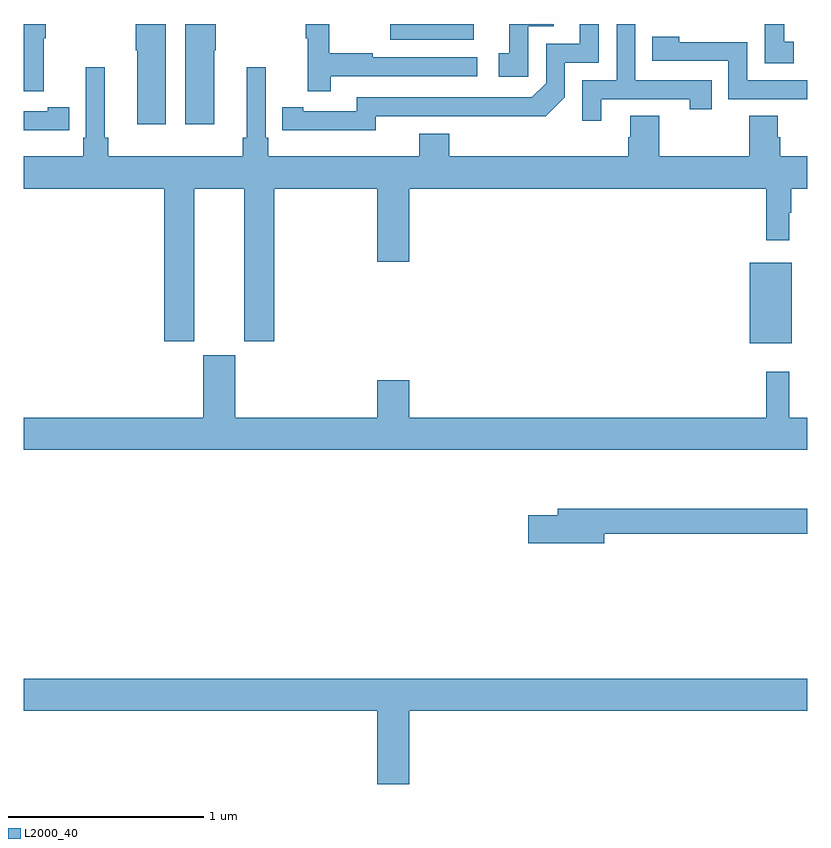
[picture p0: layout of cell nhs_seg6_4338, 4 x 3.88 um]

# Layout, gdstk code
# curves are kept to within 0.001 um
import gdstk
lib = gdstk.Library(unit=1e-6, precision=1e-09)
def R(c, l, rs):  # rectangles x0, y0, x1, y1
    for r in rs: c.add(gdstk.rectangle(r[:2], r[2:], *l))
def P(c, l, *ps):  # polygons
    for p in ps: c.add(gdstk.Polygon(p, *l))
L2000_40 = (2000, 40)

nhs_seg6_4338 = lib.new_cell('nhs_seg6_4338')
R(nhs_seg6_4338, L2000_40, [(370.706,955.871,370.921,956.281), (368.871,957.419,369.298,957.5)])
P(nhs_seg6_4338, L2000_40, [(369.576,957.489),(369.705,957.489),(369.705,957.5),(369.479,957.5),(369.479,957.351),(369.426,957.351),(369.426,957.231),(369.576,957.231)],
  [(369.949,957.117),(370.4,957.117),(370.4,957.066),(370.511,957.066),(370.511,957.213),(370.122,957.213),(370.122,957.5),(370.026,957.5),(370.026,957.213),(369.852,957.213),(369.852,957.006),(369.949,957.006)],
  [(370.93,957.409),(370.881,957.409),(370.881,957.5),(370.438,957.5),(370.44,957.498),(370.782,957.498),(370.782,957.3),(370.93,957.3)],
  [(367.972,957.367),(367.98,957.367),(367.98,957.5),(367.826,957.5),(367.826,956.988),(367.972,956.988)],
  [(368.796,957.03),(369.664,957.029),(369.762,957.126),(369.762,957.303),(369.936,957.303),(369.936,957.5),(369.839,957.5),(369.839,957.399),(369.666,957.399),(369.666,957.198),(369.594,957.126),(368.7,957.126),(368.7,957.054),(368.428,957.054),(368.428,957.074),(368.32,957.074),(368.32,956.958),(368.796,956.957)],
  [(368.567,957.234),(369.316,957.234),(369.316,957.33),(368.783,957.33),(368.783,957.35),(368.56,957.35),(368.56,957.5),(368.439,957.5),(368.439,957.427),(368.45,957.427),(368.45,957.156),(368.567,957.156)],
  [(367.726,957.5),(367.573,957.5),(367.573,957.367),(367.58,957.367),(367.58,956.988),(367.726,956.988)],
  [(367.103,957.427),(367.114,957.427),(367.114,957.5),(367,957.5),(367,957.156),(367.103,957.156)],
  [(371,957.213),(370.692,957.213),(370.692,957.408),(370.347,957.408),(370.347,957.435),(370.207,957.435),(370.207,957.312),(370.596,957.312),(370.596,957.117),(371,957.117)],
  [(367.87,956.66),(368.126,956.66),(368.126,955.881),(368.279,955.881),(368.279,956.66),(368.804,956.66),(368.804,956.286),(368.968,956.286),(368.968,956.66),(370.789,956.66),(370.789,956.397),(370.906,956.397),(370.906,956.537),(370.918,956.537),(370.918,956.66),(371,956.66),(371,956.824),(370.862,956.824),(370.862,956.922),(370.849,956.922),(370.849,957.032),(370.702,957.032),(370.702,956.824),(370.245,956.824),(370.245,957.032),(370.097,957.032),(370.097,956.922),(370.085,956.922),(370.085,956.824),(369.173,956.824),(369.173,956.941),(369.02,956.941),(369.02,956.824),(368.249,956.824),(368.249,956.92),(368.235,956.92),(368.235,957.28),(368.138,957.28),(368.138,956.92),(368.119,956.92),(368.119,956.824),(367.433,956.824),(367.433,956.92),(367.414,956.92),(367.414,957.28),(367.317,957.28),(367.317,956.92),(367.304,956.92),(367.304,956.824),(367,956.824),(367,956.66),(367.718,956.66),(367.718,955.881),(367.87,955.881)],
  [(367.124,956.958),(367.232,956.958),(367.232,957.074),(367.124,957.074),(367.124,957.054),(367,957.054),(367,956.957),(367.124,956.957)],
  [(371,955.492),(370.907,955.492),(370.907,955.726),(370.789,955.726),(370.789,955.492),(368.968,955.492),(368.968,955.681),(368.804,955.681),(368.804,955.492),(368.08,955.492),(368.08,955.809),(367.916,955.809),(367.916,955.492),(367,955.492),(367,955.328),(371,955.328)],
  [(369.964,954.898),(371,954.898),(371,955.027),(369.725,955.027),(369.725,954.993),(369.576,954.993),(369.576,954.851),(369.964,954.851)],
  [(368.968,953.996),(371,953.996),(371,954.16),(367,954.16),(367,953.996),(368.804,953.996),(368.804,953.622),(368.968,953.622)])

lib.write_gds('nhs_seg6_4338.gds')
